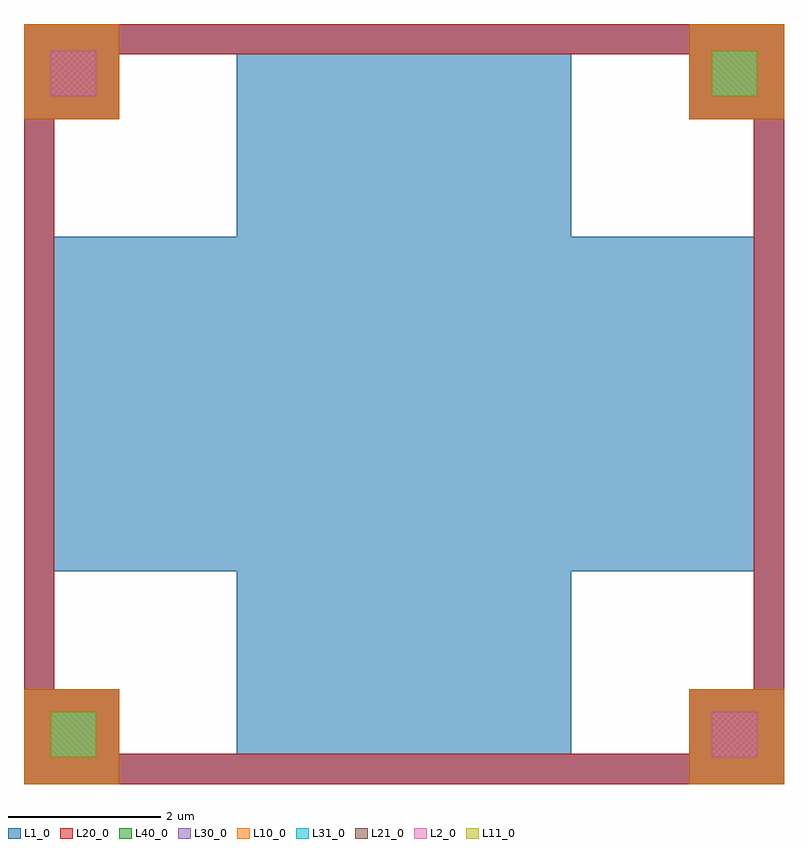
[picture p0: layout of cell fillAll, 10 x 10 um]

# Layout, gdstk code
import gdstk
lib = gdstk.Library(unit=1e-6, precision=1e-09)
def R(c, l, rs):  # rectangles x0, y0, x1, y1
    for r in rs: c.add(gdstk.rectangle(r[:2], r[2:], *l))
def P(c, l, *ps):  # polygons
    for p in ps: c.add(gdstk.Polygon(p, *l))
L1_0 = (1, 0)
L2_0 = (2, 0)
L10_0 = (10, 0)
L11_0 = (11, 0)
L20_0 = (20, 0)
L21_0 = (21, 0)
L30_0 = (30, 0)
L31_0 = (31, 0)
L40_0 = (40, 0)

fillall = lib.new_cell('fillAll')
R(fillall, L1_0, [(0,0,1.25,1.25), (8.75,0,10,1.25), (0,8.75,1.25,10), (8.75,8.75,10,10)])
P(fillall, L1_0, [(1.25,0),(1.25,0.4),(2.8,0.4),(2.8,2.8),(0.4,2.8),(0.4,1.25),(0,1.25),(0,8.75),(0.4,8.75),(0.4,7.2),(2.8,7.2),(2.8,9.6),(1.25,9.6),(1.25,10),(8.75,10),(8.75,9.6),(7.2,9.6),(7.2,7.2),(9.6,7.2),(9.6,8.75),(10,8.75),(10,1.25),(9.6,1.25),(9.6,2.8),(7.2,2.8),(7.2,0.4),(8.75,0.4),(8.75,0)])
R(fillall, L2_0, [(9.05,0.35,9.65,0.95), (0.35,9.05,0.95,9.65)])
R(fillall, L10_0, [(0,0,1.25,1.25), (8.75,0,10,1.25), (0,8.75,1.25,10), (8.75,8.75,10,10)])
R(fillall, L11_0, [(0.35,0.35,0.95,0.95), (9.05,9.05,9.65,9.65)])
R(fillall, L20_0, [(0,0,1.25,1.25), (1.25,0,8.75,0.4), (8.75,0,10,1.25), (0,1.25,0.4,8.75), (9.6,1.25,10,8.75), (0,8.75,1.25,10), (8.75,8.75,10,10), (1.25,9.6,8.75,10)])
R(fillall, L21_0, [(9.05,0.35,9.65,0.95), (0.35,9.05,0.95,9.65)])
R(fillall, L30_0, [(0,0,1.25,1.25), (8.75,0,10,1.25), (0,8.75,1.25,10), (8.75,8.75,10,10)])
R(fillall, L31_0, [(0.35,0.35,0.95,0.95), (9.05,9.05,9.65,9.65)])
R(fillall, L40_0, [(0,0,1.25,1.25), (8.75,0,10,1.25), (0,8.75,1.25,10), (8.75,8.75,10,10)])

lib.write_gds('fillAll.gds')
